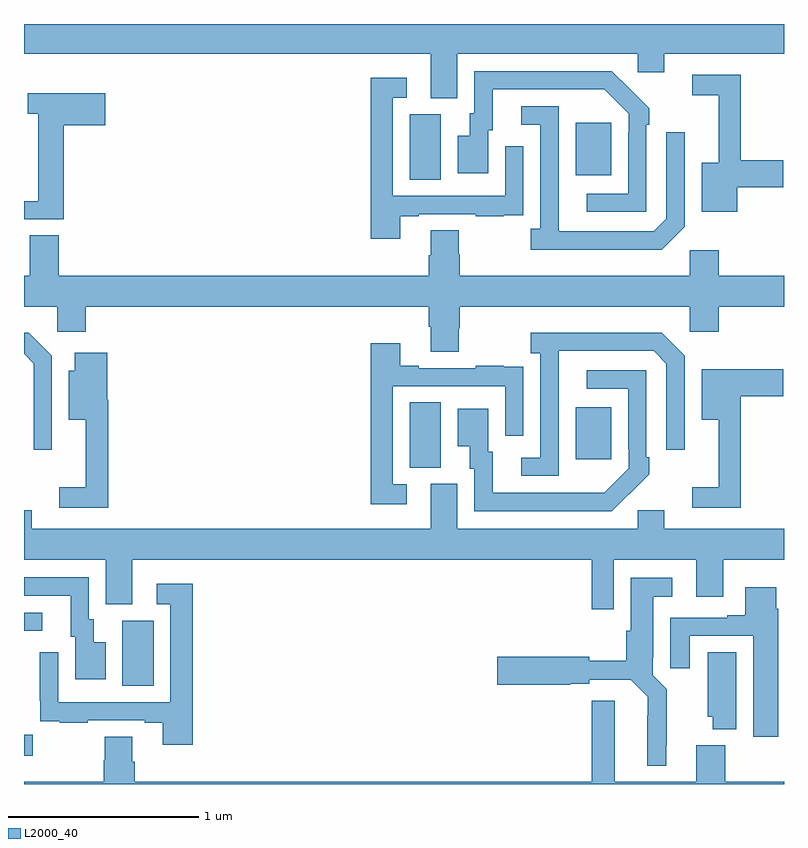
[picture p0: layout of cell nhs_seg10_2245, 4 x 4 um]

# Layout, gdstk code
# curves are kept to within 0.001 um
import gdstk
lib = gdstk.Library(unit=1e-6, precision=1e-09)
def R(c, l, rs):  # rectangles x0, y0, x1, y1
    for r in rs: c.add(gdstk.rectangle(r[:2], r[2:], *l))
def P(c, l, *ps):  # polygons
    for p in ps: c.add(gdstk.Polygon(p, *l))
L2000_40 = (2000, 40)

nhs_seg10_2245 = lib.new_cell('nhs_seg10_2245')
R(nhs_seg10_2245, L2000_40, [(231,1268.648,231.046,1268.758), (231.518,1269.016,231.682,1269.36), (231,1269.306,231.097,1269.402), (233.03,1270.165,233.194,1270.508), (233.903,1270.209,234.091,1270.483), (233.03,1271.68,233.194,1272.024), (233.903,1271.705,234.091,1271.98)])
P(nhs_seg10_2245, L2000_40, [(233.281,1272.344),(234.231,1272.344),(234.231,1272.246),(234.37,1272.246),(234.37,1272.344),(235,1272.344),(235,1272.5),(231,1272.5),(231,1272.344),(233.141,1272.344),(233.141,1272.109),(233.281,1272.109)],
  [(234.276,1271.969),(234.291,1271.969),(234.291,1272.057),(234.094,1272.252),(233.37,1272.252),(233.37,1272.03),(233.345,1272.03),(233.345,1271.911),(233.282,1271.911),(233.282,1271.715),(233.443,1271.715),(233.443,1271.94),(233.467,1271.94),(233.467,1272.156),(234.055,1272.156),(234.183,1272.027),(234.183,1271.927),(234.18,1271.927),(234.18,1271.607),(233.961,1271.607),(233.961,1271.511),(234.276,1271.511)],
  [(234.754,1271.641),(234.997,1271.641),(234.997,1271.783),(234.773,1271.783),(234.773,1272.234),(234.516,1272.234),(234.516,1272.126),(234.656,1272.126),(234.656,1271.77),(234.566,1271.77),(234.566,1271.513),(234.754,1271.513)],
  [(232.981,1271.487),(233.077,1271.487),(233.077,1271.499),(233.377,1271.499),(233.377,1271.487),(233.525,1271.487),(233.525,1271.493),(233.627,1271.493),(233.627,1271.602),(233.628,1271.602),(233.628,1271.857),(233.532,1271.857),(233.532,1271.595),(232.941,1271.595),(232.941,1272.111),(233.014,1272.111),(233.014,1272.217),(232.825,1272.217),(232.825,1271.37),(232.981,1271.37)],
  [(231.209,1271.966),(231.427,1271.966),(231.427,1272.135),(231.021,1272.135),(231.021,1272.027),(231.074,1272.027),(231.074,1271.568),(231,1271.568),(231,1271.472),(231.209,1271.472)],
  [(234.477,1271.433),(234.477,1271.929),(234.381,1271.929),(234.381,1271.475),(234.315,1271.409),(233.815,1271.409),(233.814,1272.066),(233.616,1272.066),(233.616,1271.97),(233.718,1271.97),(233.718,1271.422),(233.667,1271.422),(233.667,1271.312),(234.356,1271.312)],
  [(233.289,1270.899),(233.294,1270.899),(233.294,1271.012),(234.504,1271.012),(234.504,1270.881),(234.656,1270.881),(234.656,1271.012),(235,1271.012),(235,1271.176),(234.656,1271.176),(234.656,1271.308),(234.504,1271.308),(234.504,1271.176),(233.294,1271.176),(233.294,1271.289),(233.289,1271.289),(233.289,1271.414),(233.141,1271.414),(233.141,1271.282),(233.129,1271.282),(233.129,1271.176),(231.182,1271.176),(231.182,1271.387),(231.029,1271.387),(231.029,1271.176),(231,1271.176),(231,1271.012),(231.174,1271.012),(231.174,1270.881),(231.326,1270.881),(231.326,1271.012),(233.129,1271.012),(233.129,1270.906),(233.141,1270.906),(233.141,1270.774),(233.289,1270.774)],
  [(233.814,1270.579),(233.815,1270.779),(234.315,1270.779),(234.381,1270.713),(234.381,1270.26),(234.477,1270.26),(234.477,1270.755),(234.356,1270.876),(233.667,1270.876),(233.667,1270.766),(233.718,1270.766),(233.718,1270.218),(233.616,1270.218),(233.616,1270.122),(233.814,1270.122)],
  [(231.147,1270.755),(231.026,1270.876),(231,1270.876),(231,1270.764),(231.051,1270.713),(231.051,1270.26),(231.147,1270.26)],
  [(233.014,1270.077),(232.941,1270.077),(232.941,1270.593),(233.532,1270.593),(233.532,1270.332),(233.628,1270.332),(233.628,1270.586),(233.627,1270.586),(233.627,1270.695),(233.525,1270.695),(233.525,1270.702),(233.377,1270.702),(233.377,1270.689),(233.077,1270.689),(233.077,1270.702),(232.981,1270.702),(232.981,1270.819),(232.825,1270.819),(232.825,1269.972),(233.014,1269.972)],
  [(231.443,1270.522),(231.437,1270.522),(231.437,1270.771),(231.266,1270.771),(231.266,1270.675),(231.236,1270.675),(231.236,1270.418),(231.326,1270.418),(231.326,1270.063),(231.186,1270.063),(231.186,1269.954),(231.443,1269.954)],
  [(234.773,1270.541),(234.997,1270.541),(234.997,1270.683),(234.566,1270.683),(234.566,1270.418),(234.656,1270.418),(234.656,1270.063),(234.516,1270.063),(234.516,1269.954),(234.773,1269.954)],
  [(234.185,1270.027),(234.186,1270.026),(234.291,1270.131),(234.291,1270.219),(234.276,1270.219),(234.276,1270.677),(233.961,1270.677),(233.961,1270.581),(234.18,1270.581),(234.18,1270.261),(234.183,1270.261),(234.183,1270.161),(234.055,1270.033),(233.467,1270.032),(233.467,1270.248),(233.443,1270.248),(233.443,1270.474),(233.282,1270.474),(233.282,1270.277),(233.345,1270.277),(233.345,1270.158),(233.37,1270.158),(233.37,1269.936),(234.094,1269.936)],
  [(234.105,1269.68),(234.539,1269.68),(234.539,1269.486),(234.679,1269.486),(234.679,1269.68),(235,1269.68),(235,1269.844),(234.37,1269.844),(234.37,1269.942),(234.231,1269.942),(234.231,1269.844),(233.281,1269.844),(233.281,1270.08),(233.141,1270.08),(233.141,1269.844),(231.04,1269.844),(231.04,1269.942),(231,1269.942),(231,1269.68),(231.431,1269.68),(231.431,1269.445),(231.571,1269.445),(231.571,1269.68),(233.989,1269.68),(233.989,1269.42),(234.105,1269.42)],
  [(231.43,1269.247),(231.367,1269.247),(231.367,1269.366),(231.342,1269.366),(231.342,1269.588),(231,1269.588),(231,1269.492),(231.245,1269.492),(231.245,1269.276),(231.269,1269.276),(231.269,1269.051),(231.43,1269.051)],
  [(234.379,1268.707),(234.383,1268.707),(234.383,1268.998),(234.309,1269.072),(234.309,1269.166),(234.313,1269.166),(234.313,1269.485),(234.412,1269.485),(234.412,1269.586),(234.194,1269.586),(234.194,1269.306),(234.169,1269.306),(234.169,1269.149),(233.974,1269.149),(233.974,1269.17),(233.49,1269.17),(233.49,1269.023),(233.874,1269.023),(233.874,1269.028),(233.974,1269.028),(233.974,1269.048),(234.194,1269.048),(234.282,1268.96),(234.281,1268.597),(234.379,1268.597)],
  [(231.887,1269.553),(231.699,1269.553),(231.699,1269.447),(231.771,1269.447),(231.771,1268.931),(231.18,1268.931),(231.18,1269.193),(231.084,1269.193),(231.084,1268.938),(231.085,1268.938),(231.085,1268.829),(231.187,1268.829),(231.187,1268.823),(231.335,1268.823),(231.335,1268.835),(231.635,1268.835),(231.635,1268.823),(231.731,1268.823),(231.731,1268.706),(231.887,1268.706)],
  [(234.971,1269.422),(234.958,1269.422),(234.958,1269.535),(234.797,1269.535),(234.797,1269.388),(234.701,1269.388),(234.701,1269.375),(234.401,1269.375),(234.401,1269.108),(234.505,1269.108),(234.505,1269.279),(234.839,1269.279),(234.839,1268.748),(234.971,1268.748)],
  [(234.748,1269.194),(234.599,1269.194),(234.599,1268.853),(234.626,1268.853),(234.626,1268.789),(234.748,1268.789)],
  [(231.424,1268.75),(231.424,1268.625),(231.419,1268.625),(231.419,1268.512),(231,1268.512),(231,1268.5),(235,1268.5),(235,1268.512),(234.692,1268.512),(234.692,1268.704),(234.539,1268.704),(234.539,1268.512),(234.109,1268.512),(234.109,1268.938),(233.987,1268.938),(233.987,1268.512),(231.584,1268.512),(231.584,1268.618),(231.571,1268.618),(231.571,1268.75)])

lib.write_gds('nhs_seg10_2245.gds')
